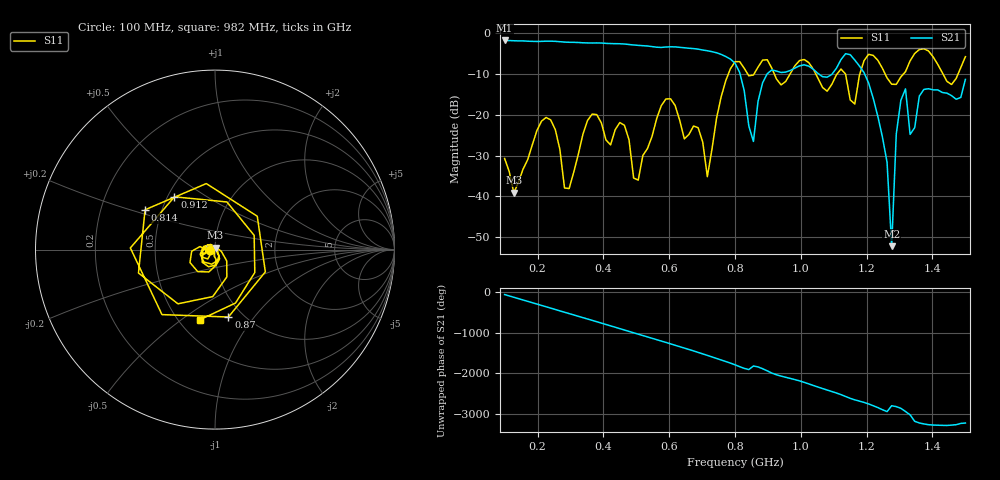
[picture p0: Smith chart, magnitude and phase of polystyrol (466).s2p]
! NanoVNA-App
! Date: 2025-09-25 15:33:31
! Start: 100MHz Stop: 1,5GHz Points: 101
! S-Parameter data: F S11 S21 S12 S22
# Hz S RI R 50
!  Frequency  S11_Real  S11_Imag  S21_Real  S21_Imag  S12_Real  S12_Imag  S22_Real  S22_Imag
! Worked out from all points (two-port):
!   101 points, 100 MHz to 1.5 GHz, reference 50 ohm
!   highest |S21| = -1.80 dB at 100 MHz (marker M1); lowest = -52.2 dB at 1.276 GHz (marker M2)
!   |S21| within 3 dB of the highest: start of sweep to 743.1 MHz
!   lowest |S11| = -39.1 dB at 128 MHz (marker M3), VSWR 1.02, Z = 50.3 + j1.06 ohm
!   |S11| at or under -10 dB: start of sweep to 779.9 MHz; 1.045 GHz to 1.11 GHz (64.89 MHz wide, 6.02 % of centre); 1.136 GHz to 1.179 GHz (43.61 MHz wide, 3.77 % of centre) (the widest 3 of 7)
!   S12 and S22 are empty: the file has one direction only
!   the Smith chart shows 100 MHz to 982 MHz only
!   S11 on the Smith chart (normalised r, x): 100 MHz: 0.94, -0.01; 814 MHz: 0.40, +0.22; 870 MHz: 0.86, -0.75; 912 MHz: 0.54, +0.37; 982 MHz: 0.64, -0.59
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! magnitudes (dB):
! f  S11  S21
! 100 MHz  -30.7  -1.8
! 128 MHz  -39.1  -1.9
! 212 MHz  -21.6  -2.0
! 282 MHz  -37.9  -2.2
! 338 MHz  -24.8  -2.4
! 506 MHz  -36.0  -3.0
! 576 MHz  -17.8  -3.5
! 716 MHz  -35.2  -4.3
! 800 MHz  -7.0  -7.4
! 814 MHz  -7.0  -9.6
! 856 MHz  -10.3  -26.5
! 870 MHz  -8.3  -16.7
! 912 MHz  -8.6  -9.0
! 982 MHz  -8.0  -8.6
! 1.038 GHz  -8.8  -8.9
! 1.206 GHz  -5.2  -12.2
! 1.262 GHz  -11.0  -31.6
! 1.276 GHz  -12.5  -52.2
! 1.29 GHz  -12.6  -24.7
! 1.318 GHz  -9.4  -13.7
! 1.332 GHz  -6.8  -24.8
! 1.5 GHz  -5.8  -11.3
